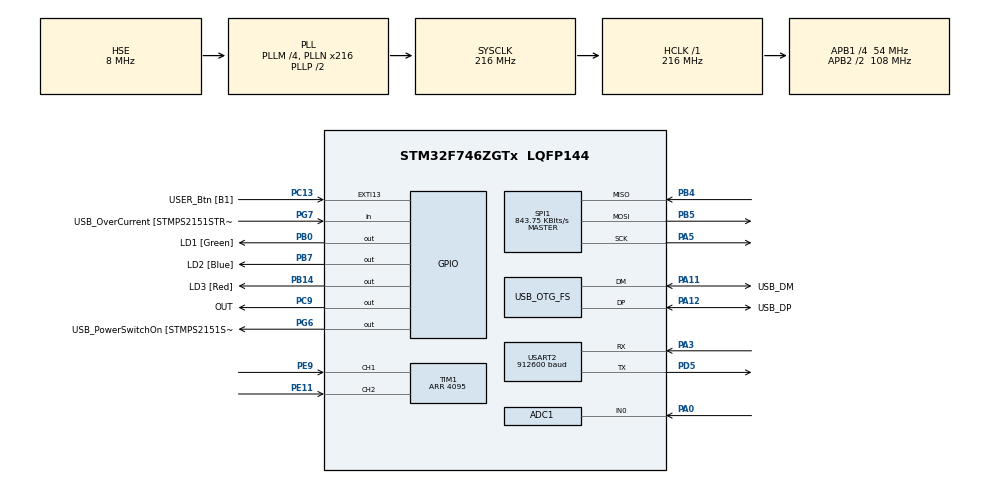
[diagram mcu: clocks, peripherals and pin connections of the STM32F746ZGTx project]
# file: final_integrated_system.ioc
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ADC1.Channel-0\#ChannelRegularConversion=ADC_CHANNEL_0
ADC1.ContinuousConvMode=ENABLE
ADC1.DMAContinuousRequests=ENABLE
ADC1.NbrOfConversionFlag=1
ADC1.Rank-0\#ChannelRegularConversion=1
ADC1.Resolution=ADC_RESOLUTION_8B
ADC1.SamplingTime-0\#ChannelRegularConversion=ADC_SAMPLETIME_3CYCLES
ADC1.master=1
Dma.ADC1.0.Direction=DMA_PERIPH_TO_MEMORY
Dma.ADC1.0.FIFOMode=DMA_FIFOMODE_DISABLE
Dma.ADC1.0.Instance=DMA2_Stream0
Dma.ADC1.0.MemDataAlignment=DMA_MDATAALIGN_BYTE
Dma.ADC1.0.MemInc=DMA_MINC_ENABLE
Dma.ADC1.0.Mode=DMA_NORMAL
Dma.ADC1.0.PeriphDataAlignment=DMA_PDATAALIGN_BYTE
Dma.ADC1.0.PeriphInc=DMA_PINC_DISABLE
Dma.ADC1.0.Priority=DMA_PRIORITY_VERY_HIGH
Dma.Request0=ADC1
Mcu.Family=STM32F7
Mcu.Name=STM32F746ZGTx
Mcu.Package=LQFP144
NVIC.ADC_IRQn=true\:2\:0\:true\:false\:true\:true\:true
NVIC.DMA2_Stream0_IRQn=true\:2\:0\:true\:false\:true\:false\:true
NVIC.OTG_FS_IRQn=true\:1\:0\:true\:false\:true\:false\:true
NVIC.PriorityGroup=NVIC_PRIORITYGROUP_4
NVIC.TIM3_IRQn=true\:2\:0\:true\:false\:true\:true\:true
PA0/WKUP.Signal=ADCx_IN0
PA1.GPIO_Label=RMII_REF_CLK [LAN8742A-CZ-TR_REFCLK0]
PA1.Signal=ETH_REF_CLK
PA10.GPIO_Label=USB_ID
PA10.Signal=USB_OTG_FS_ID
PA11.GPIO_Label=USB_DM
PA11.Mode=Device_Only
PA11.Signal=USB_OTG_FS_DM
PA12.GPIO_Label=USB_DP
PA12.Mode=Device_Only
PA12.Signal=USB_OTG_FS_DP
PA13.GPIO_Label=TMS
PA13.Signal=SYS_JTMS-SWDIO
PA14.GPIO_Label=TCK
PA14.Signal=SYS_JTCK-SWCLK
PA2.GPIO_Label=RMII_MDIO [LAN8742A-CZ-TR_MDIO]
PA2.Signal=ETH_MDIO
PA3.Mode=Asynchronous
PA3.Signal=USART2_RX
PA4.GPIO_Label=NSS
PA4.Signal=SPI1_NSS
PA5.Mode=Full_Duplex_Master
PA5.Signal=SPI1_SCK
PA7.GPIO_Label=RMII_CRS_DV [LAN8742A-CZ-TR_CRS_DV]
PA7.Signal=ETH_CRS_DV
PA8.GPIO_Label=USB_SOF [TP1]
PA8.Signal=USB_OTG_FS_SOF
PA9.GPIO_Label=USB_VBUS
PA9.Signal=USB_OTG_FS_VBUS
PB0.GPIO_Label=LD1 [Green]
PB0.Signal=GPIO_Output
PB13.GPIO_Label=RMII_TXD1 [LAN8742A-CZ-TR_TXD1]
PB13.Signal=ETH_TXD1
PB14.GPIO_Label=LD3 [Red]
PB14.Signal=GPIO_Output
PB3.GPIO_Label=SW0
PB3.Signal=SYS_JTDO-SWO
PB4.Mode=Full_Duplex_Master
PB4.Signal=SPI1_MISO
PB5.Mode=Full_Duplex_Master
PB5.Signal=SPI1_MOSI
PB7.GPIO_Label=LD2 [Blue]
PB7.Signal=GPIO_Output
PC1.GPIO_Label=RMII_MDC [LAN8742A-CZ-TR_MDC]
PC1.Signal=ETH_MDC
PC13.GPIO_Label=USER_Btn [B1]
PC13.Signal=GPXTI13
PC14/OSC32_IN.Signal=RCC_OSC32_IN
PC15/OSC32_OUT.Signal=RCC_OSC32_OUT
PC4.GPIO_Label=RMII_RXD0 [LAN8742A-CZ-TR_RXD0]
PC4.Signal=ETH_RXD0
PC5.GPIO_Label=RMII_RXD1 [LAN8742A-CZ-TR_RXD1]
PC5.Signal=ETH_RXD1
PC9.GPIO_Label=OUT
PC9.GPIO_Speed=GPIO_SPEED_FREQ_VERY_HIGH
PC9.Signal=GPIO_Output
PD5.Mode=Asynchronous
PD5.Signal=USART2_TX
PD8.GPIO_Label=STLK_RX [STM32F103CBT6_PA3]
PD8.Signal=USART3_TX
PD9.GPIO_Label=STLK_TX [STM32F103CBT6_PA2]
PD9.Signal=USART3_RX
PE11.Signal=S_TIM1_CH2
PE9.Signal=S_TIM1_CH1
PG11.GPIO_Label=RMII_TX_EN [LAN8742A-CZ-TR_TXEN]
PG11.Signal=ETH_TX_EN
PG13.GPIO_Label=RMII_TXD0 [LAN8742A-CZ-TR_TXD0]
PG13.Signal=ETH_TXD0
PG6.GPIO_Label=USB_PowerSwitchOn [STMPS2151STR_EN]
PG6.Signal=GPIO_Output
PG7.GPIO_Label=USB_OverCurrent [STMPS2151STR_FAULT]
PG7.Signal=GPIO_Input
PH0/OSC_IN.GPIO_Label=MCO [STM32F103CBT6_PA8]
PH0/OSC_IN.Mode=HSE-External-Oscillator
PH0/OSC_IN.Signal=RCC_OSC_IN
PH1/OSC_OUT.Mode=HSE-External-Oscillator
PH1/OSC_OUT.Signal=RCC_OSC_OUT
ProjectManager.HeapSize=0x400
ProjectManager.StackSize=0x800
ProjectManager.TargetToolchain=MDK-ARM V5
RCC.48MHZClocksFreq_Value=24000000
RCC.AHBFreq_Value=216000000
RCC.APB1CLKDivider=RCC_HCLK_DIV4
RCC.APB1Freq_Value=54000000
RCC.APB1TimFreq_Value=108000000
RCC.APB2CLKDivider=RCC_HCLK_DIV2
RCC.APB2Freq_Value=108000000
RCC.APB2TimFreq_Value=216000000
RCC.CortexFreq_Value=216000000
RCC.HCLKFreq_Value=216000000
RCC.HSE_VALUE=8000000
RCC.HSI_VALUE=16000000
RCC.LSE_VALUE=32768
RCC.PLLM=4
RCC.PLLMUL=RCC_PLL_MUL9
RCC.PLLN=216
RCC.PLLQ=9
RCC.PRESCALERUSB=RCC_USBCLKSOURCE_PLL_DIV1_5
RCC.SYSCLKFreq_VALUE=216000000
RCC.SYSCLKSource=RCC_SYSCLKSOURCE_PLLCLK
RCC.SYSCLKSourceVirtual=RCC_SYSCLKSOURCE_PLLCLK
RCC.USBFreq_Value=48000000
RCC.VCOOutputFreq_Value=432000000
SH.ADCx_IN0.0=ADC1_IN0,IN0
SH.S_TIM1_CH1.0=TIM1_CH1,Encoder_Interface
SH.S_TIM1_CH2.0=TIM1_CH2,Encoder_Interface
SPI1.BaudRatePrescaler=SPI_BAUDRATEPRESCALER_128
SPI1.CalculateBaudRate=843.75 KBits/s
SPI1.DataSize=SPI_DATASIZE_8BIT
SPI1.Direction=SPI_DIRECTION_2LINES
SPI1.Mode=SPI_MODE_MASTER
SPI1.VirtualType=VM_MASTER
TIM1.AutoReloadPreload=TIM_AUTORELOAD_PRELOAD_ENABLE
TIM1.Period=4095
TIM3.AutoReloadPreload=TIM_AUTORELOAD_PRELOAD_ENABLE
TIM3.Period=21599
TIM3.Prescaler=4
USART2.BaudRate=912600
USART2.OverSampling=UART_OVERSAMPLING_8
USART2.VirtualMode-Asynchronous=VM_ASYNC
USB_DEVICE.CLASS_NAME_FS=CDC
USB_DEVICE.VirtualMode-CDC_FS=Cdc
USB_DEVICE.VirtualModeFS=Cdc_FS
USB_OTG_FS.VirtualMode=Device_Only
VP_TIM3_VS_ClockSourceINT.Mode=Internal
VP_USB_DEVICE_VS_USB_DEVICE_CDC_FS.Mode=CDC_FS
board=NUCLEO-F746ZG

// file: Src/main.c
/* USER CODE BEGIN Header */
/**
  ******************************************************************************
  * @file           : main.c
  * @brief          : Main program body
  ******************************************************************************
  * @attention
  *
  * <h2><center>&copy; Copyright (c) 2019 STMicroelectronics.
  * All rights reserved.</center></h2>
  *
  * This software component is licensed by ST under Ultimate Liberty license
  * SLA0044, the "License"; You may not use this file except in compliance with
  * the License. You may obtain a copy of the License at:
  *                             www.st.com/SLA0044
  *
  ******************************************************************************
  */
/* USER CODE END Header */

#include "main.h"
#include "usb_device.h"

/* USER CODE BEGIN Includes */

//includes needed for my_printf
#include <stdio.h>
#include <stdarg.h>
#include <string.h>

//include needed for usb
#include "usbd_cdc_if.h"

/* USER CODE END Includes */

ADC_HandleTypeDef hadc1;
DMA_HandleTypeDef hdma_adc1;

SPI_HandleTypeDef hspi1;

TIM_HandleTypeDef htim1;
TIM_HandleTypeDef htim3;

UART_HandleTypeDef huart2;

/* USER CODE BEGIN PV */

//consts for number of encoder bytes and data bytes in the array
const uint16_t numTotalBytes = 512;
const uint32_t numDataBytes = 500;
const uint16_t numOverheadBytes = 12;		//total overhead including encoder
const uint16_t numStartBytes = 10;			//pure overhead (for now is 0xff)

//data array and pointers to where encoder bytes and data bytes start
uint8_t vals[numTotalBytes];
uint8_t *encoderStart = vals + numStartBytes;
uint8_t *dataStart = vals + numOverheadBytes;

//ready to send flag
uint8_t readyToSend = 0;

//initial encoder position, calculated quadrature position
uint16_t initPos = 0;
uint16_t quadraturePos = 0;

//encoder bitmasks
uint16_t lowTwelveMask = 0xFFFU;
uint8_t lowEightMask = 0xFFU;

/*
//tracking transmission speed
uint16_t numSent = 0;
uint8_t startSet = 0;
uint32_t startTime = 0;
*/

/* USER CODE END PV */

void SystemClock_Config(void);
static void MX_GPIO_Init(void);
static void MX_DMA_Init(void);
static void MX_ADC1_Init(void);
static void MX_SPI1_Init(void);
static void MX_TIM1_Init(void);
static void MX_TIM3_Init(void);
static void MX_USART2_UART_Init(void);
/* USER CODE BEGIN PFP */

//print functions definitions
void vprint(const char *fmt, va_list argp);
void my_printf(const char *fmt, ...);

//dwt: used to create us delays for encoder
void DWT_Init(void);
void DWT_Delay(uint32_t usDelay);

//package read value from encoder. directly modifies posArray.
//will return 0 on failure.
void getAMTPos(uint8_t *posArray);

/* USER CODE END PFP */

/* USER CODE BEGIN 0 */

//print functions
void vprint(const char *fmt, va_list argp)
{
    char string[200];
    if(0 < vsprintf(string,fmt,argp)) // build string
    {
        HAL_UART_Transmit(&huart2, (uint8_t*)string, strlen(string), 0xffffff); // send message via UART
    }
}

void my_printf(const char *fmt, ...) // custom printf() function
{
    va_list argp;
    va_start(argp, fmt);
    vprint(fmt, argp);
    va_end(argp);
}

//DWT init
void DWT_Init(void)
{
	//allow access to DWT (unlock)
  DWT->LAR = 0xC5ACCE55;
	CoreDebug->DEMCR |= CoreDebug_DEMCR_TRCENA_Msk;
	DWT->CYCCNT = 0;
	DWT->CTRL |= DWT_CTRL_CYCCNTENA_Msk;
}

//performs the delay. usDelay is in us
void DWT_Delay(uint32_t usDelay)
{
    uint32_t startTick = DWT->CYCCNT,
             delayTicks = usDelay * (SystemCoreClock/1000000);

    while (DWT->CYCCNT - startTick < delayTicks);
}

//encoder reading function. Directly modifies posArray
void getAMTPos(uint8_t *posArray) {
	//var to help track status and commands
	uint8_t readyToRecv = 0;
	uint8_t READPOS = 0x10;		//read command
	uint8_t NOP = 0x00;				//NOP command

	//send read command
	GPIOA->BSRR = 0x100000U;
	HAL_SPI_TransmitReceive(&hspi1, &READPOS, &readyToRecv, 1, 0xFFFF);
	GPIOA->BSRR = 0x0010U;
	DWT_Delay(5);

	//keep read until get 10 (ready)
	while (readyToRecv != 0x10) {
		GPIOA->BSRR = 0x100000U;
		HAL_SPI_TransmitReceive(&hspi1, &NOP, &readyToRecv, 1, 0xFFFF);
		GPIOA->BSRR = 0x0010U;
		DWT_Delay(30);
	}

	//now is ready: get two bytes that is the 12 bit position
	DWT_Delay(5);
	GPIOA->BSRR = 0x100000U;
	HAL_SPI_TransmitReceive(&hspi1, &NOP, posArray, 1, 0xFFFF);
	GPIOA->BSRR = 0x0010U;

	DWT_Delay(5);
	GPIOA->BSRR = 0x100000U;
	HAL_SPI_TransmitReceive(&hspi1, &NOP, posArray + 1, 1, 0xFFFF);
	GPIOA->BSRR = 0x0010U;

	//pause so encoder has time to get ready for next read
	DWT_Delay(120);
}

/* USER CODE END 0 */

int main(void)
{
  /* USER CODE BEGIN 1 */

	//poopulate the first 10 elements of the data array with 0xff
	for (int i = 0; i < numStartBytes; i++) {
		vals[i] = 0xffU;
	}

  /* USER CODE END 1 */

  /* MCU Configuration--------------------------------------------------------*/

  /* Reset of all peripherals, Initializes the Flash interface and the Systick. */
  HAL_Init();

  /* Configure the system clock */
  SystemClock_Config();

  /* Initialize all configured peripherals */
  MX_GPIO_Init();
  MX_DMA_Init();
  MX_ADC1_Init();
  MX_SPI1_Init();
  MX_TIM1_Init();
  MX_TIM3_Init();
  MX_USART2_UART_Init();
  MX_USB_DEVICE_Init();
  /* USER CODE BEGIN 2 */

	//init DWT
	DWT_Init();

	//enable encoder, get the initial position, start encoder timer
	HAL_GPIO_WritePin(NSS_GPIO_Port, NSS_Pin, GPIO_PIN_RESET);
	getAMTPos(encoderStart);
	initPos = (((uint16_t) encoderStart[0]) << 8) | encoderStart[1];
	HAL_TIM_Encoder_Start(&htim1, TIM_CHANNEL_ALL);

	//add "fake" usb transmit request to reset buffers?
	int i = 0;
	while(CDC_Transmit_FS(vals, numTotalBytes) != USBD_OK) {
		i++;
	}
	my_printf("ended fake transmit \r\n");

	//start the timer that sets when Tx are sent
	HAL_TIM_Base_Start_IT(&htim3);

  /* USER CODE END 2 */

  /* Infinite loop */
  while (1)
  {

    /* USER CODE BEGIN 3 */

		/*
		//check readytosend flag. if ready, send out through USB and re-enable timer
		if (readyToSend) {
			//send out values through USB
			//note: this BLOCKS EVERYTHING until it's done
			//probably smarter ways to do this, with a counter and timeout
			while(CDC_Transmit_FS(vals, numTotalBytes) != USBD_OK);

			//reset ready to send, re-enable timer interrupt
			readyToSend = 0;
			HAL_NVIC_EnableIRQ(TIM3_IRQn);
		}
		*/

  }
  /* USER CODE END 3 */
}

void SystemClock_Config(void)
{
  RCC_OscInitTypeDef RCC_OscInitStruct = {0};
  RCC_ClkInitTypeDef RCC_ClkInitStruct = {0};
  RCC_PeriphCLKInitTypeDef PeriphClkInitStruct = {0};

  /** Configure the main internal regulator output voltage
  */
  __HAL_RCC_PWR_CLK_ENABLE();
  __HAL_PWR_VOLTAGESCALING_CONFIG(PWR_REGULATOR_VOLTAGE_SCALE1);
  /** Initializes the CPU, AHB and APB busses clocks
  */
  RCC_OscInitStruct.OscillatorType = RCC_OSCILLATORTYPE_HSE;
  RCC_OscInitStruct.HSEState = RCC_HSE_ON;
  RCC_OscInitStruct.PLL.PLLState = RCC_PLL_ON;
  RCC_OscInitStruct.PLL.PLLSource = RCC_PLLSOURCE_HSE;
  RCC_OscInitStruct.PLL.PLLM = 4;
  RCC_OscInitStruct.PLL.PLLN = 216;
  RCC_OscInitStruct.PLL.PLLP = RCC_PLLP_DIV2;
  RCC_OscInitStruct.PLL.PLLQ = 9;
  if (HAL_RCC_OscConfig(&RCC_OscInitStruct) != HAL_OK)
  {
    Error_Handler();
  }
  /** Activate the Over-Drive mode
  */
  if (HAL_PWREx_EnableOverDrive() != HAL_OK)
  {
    Error_Handler();
  }
  /** Initializes the CPU, AHB and APB busses clocks
  */
  RCC_ClkInitStruct.ClockType = RCC_CLOCKTYPE_HCLK|RCC_CLOCKTYPE_SYSCLK
                              |RCC_CLOCKTYPE_PCLK1|RCC_CLOCKTYPE_PCLK2;
  RCC_ClkInitStruct.SYSCLKSource = RCC_SYSCLKSOURCE_PLLCLK;
  RCC_ClkInitStruct.AHBCLKDivider = RCC_SYSCLK_DIV1;
  RCC_ClkInitStruct.APB1CLKDivider = RCC_HCLK_DIV4;
  RCC_ClkInitStruct.APB2CLKDivider = RCC_HCLK_DIV2;

  if (HAL_RCC_ClockConfig(&RCC_ClkInitStruct, FLASH_LATENCY_7) != HAL_OK)
  {
    Error_Handler();
  }
  PeriphClkInitStruct.PeriphClockSelection = RCC_PERIPHCLK_USART2|RCC_PERIPHCLK_CLK48;
  PeriphClkInitStruct.Usart2ClockSelection = RCC_USART2CLKSOURCE_PCLK1;
  PeriphClkInitStruct.Clk48ClockSelection = RCC_CLK48SOURCE_PLL;
  if (HAL_RCCEx_PeriphCLKConfig(&PeriphClkInitStruct) != HAL_OK)
  {
    Error_Handler();
  }
}

static void MX_ADC1_Init(void)
{

  ADC_ChannelConfTypeDef sConfig = {0};

  /** Configure the global features of the ADC (Clock, Resolution, Data Alignment and number of conversion)
  */
  hadc1.Instance = ADC1;
  hadc1.Init.ClockPrescaler = ADC_CLOCK_SYNC_PCLK_DIV4;
  hadc1.Init.Resolution = ADC_RESOLUTION_8B;
  hadc1.Init.ScanConvMode = ADC_SCAN_DISABLE;
  hadc1.Init.ContinuousConvMode = ENABLE;
  hadc1.Init.DiscontinuousConvMode = DISABLE;
  hadc1.Init.ExternalTrigConvEdge = ADC_EXTERNALTRIGCONVEDGE_NONE;
  hadc1.Init.ExternalTrigConv = ADC_SOFTWARE_START;
  hadc1.Init.DataAlign = ADC_DATAALIGN_RIGHT;
  hadc1.Init.NbrOfConversion = 1;
  hadc1.Init.DMAContinuousRequests = ENABLE;
  hadc1.Init.EOCSelection = ADC_EOC_SINGLE_CONV;
  if (HAL_ADC_Init(&hadc1) != HAL_OK)
  {
    Error_Handler();
  }
  /** Configure for the selected ADC regular channel its corresponding rank in the sequencer and its sample time.
  */
  sConfig.Channel = ADC_CHANNEL_0;
  sConfig.Rank = ADC_REGULAR_RANK_1;
  sConfig.SamplingTime = ADC_SAMPLETIME_3CYCLES;
  if (HAL_ADC_ConfigChannel(&hadc1, &sConfig) != HAL_OK)
  {
    Error_Handler();
  }

}

static void MX_SPI1_Init(void)
{

  /* SPI1 parameter configuration*/
  hspi1.Instance = SPI1;
  hspi1.Init.Mode = SPI_MODE_MASTER;
  hspi1.Init.Direction = SPI_DIRECTION_2LINES;
  hspi1.Init.DataSize = SPI_DATASIZE_8BIT;
  hspi1.Init.CLKPolarity = SPI_POLARITY_LOW;
  hspi1.Init.CLKPhase = SPI_PHASE_1EDGE;
  hspi1.Init.NSS = SPI_NSS_SOFT;
  hspi1.Init.BaudRatePrescaler = SPI_BAUDRATEPRESCALER_128;
  hspi1.Init.FirstBit = SPI_FIRSTBIT_MSB;
  hspi1.Init.TIMode = SPI_TIMODE_DISABLE;
  hspi1.Init.CRCCalculation = SPI_CRCCALCULATION_DISABLE;
  hspi1.Init.CRCPolynomial = 7;
  hspi1.Init.CRCLength = SPI_CRC_LENGTH_DATASIZE;
  hspi1.Init.NSSPMode = SPI_NSS_PULSE_ENABLE;
  if (HAL_SPI_Init(&hspi1) != HAL_OK)
  {
    Error_Handler();
  }

}

static void MX_TIM1_Init(void)
{

  TIM_Encoder_InitTypeDef sConfig = {0};
  TIM_MasterConfigTypeDef sMasterConfig = {0};

  htim1.Instance = TIM1;
  htim1.Init.Prescaler = 0;
  htim1.Init.CounterMode = TIM_COUNTERMODE_UP;
  htim1.Init.Period = 4095;
  htim1.Init.ClockDivision = TIM_CLOCKDIVISION_DIV1;
  htim1.Init.RepetitionCounter = 0;
  htim1.Init.AutoReloadPreload = TIM_AUTORELOAD_PRELOAD_ENABLE;
  sConfig.EncoderMode = TIM_ENCODERMODE_TI1;
  sConfig.IC1Polarity = TIM_ICPOLARITY_RISING;
  sConfig.IC1Selection = TIM_ICSELECTION_DIRECTTI;
  sConfig.IC1Prescaler = TIM_ICPSC_DIV1;
  sConfig.IC1Filter = 0;
  sConfig.IC2Polarity = TIM_ICPOLARITY_RISING;
  sConfig.IC2Selection = TIM_ICSELECTION_DIRECTTI;
  sConfig.IC2Prescaler = TIM_ICPSC_DIV1;
  sConfig.IC2Filter = 0;
  if (HAL_TIM_Encoder_Init(&htim1, &sConfig) != HAL_OK)
  {
    Error_Handler();
  }
  sMasterConfig.MasterOutputTrigger = TIM_TRGO_RESET;
  sMasterConfig.MasterOutputTrigger2 = TIM_TRGO2_RESET;
  sMasterConfig.MasterSlaveMode = TIM_MASTERSLAVEMODE_DISABLE;
  if (HAL_TIMEx_MasterConfigSynchronization(&htim1, &sMasterConfig) != HAL_OK)
  {
    Error_Handler();
  }

}

static void MX_TIM3_Init(void)
{

  TIM_ClockConfigTypeDef sClockSourceConfig = {0};
  TIM_MasterConfigTypeDef sMasterConfig = {0};

  htim3.Instance = TIM3;
  htim3.Init.Prescaler = 4;
  htim3.Init.CounterMode = TIM_COUNTERMODE_UP;
  htim3.Init.Period = 21599;
  htim3.Init.ClockDivision = TIM_CLOCKDIVISION_DIV1;
  htim3.Init.AutoReloadPreload = TIM_AUTORELOAD_PRELOAD_ENABLE;
  if (HAL_TIM_Base_Init(&htim3) != HAL_OK)
  {
    Error_Handler();
  }
  sClockSourceConfig.ClockSource = TIM_CLOCKSOURCE_INTERNAL;
  if (HAL_TIM_ConfigClockSource(&htim3, &sClockSourceConfig) != HAL_OK)
  {
    Error_Handler();
  }
  sMasterConfig.MasterOutputTrigger = TIM_TRGO_RESET;
  sMasterConfig.MasterSlaveMode = TIM_MASTERSLAVEMODE_DISABLE;
  if (HAL_TIMEx_MasterConfigSynchronization(&htim3, &sMasterConfig) != HAL_OK)
  {
    Error_Handler();
  }

}

static void MX_USART2_UART_Init(void)
{

  huart2.Instance = USART2;
  huart2.Init.BaudRate = 912600;
  huart2.Init.WordLength = UART_WORDLENGTH_8B;
  huart2.Init.StopBits = UART_STOPBITS_1;
  huart2.Init.Parity = UART_PARITY_NONE;
  huart2.Init.Mode = UART_MODE_TX_RX;
  huart2.Init.HwFlowCtl = UART_HWCONTROL_NONE;
  huart2.Init.OverSampling = UART_OVERSAMPLING_8;
  huart2.Init.OneBitSampling = UART_ONE_BIT_SAMPLE_DISABLE;
  huart2.AdvancedInit.AdvFeatureInit = UART_ADVFEATURE_NO_INIT;
  if (HAL_UART_Init(&huart2) != HAL_OK)
  {
    Error_Handler();
  }

}

static void MX_DMA_Init(void)
{

  /* DMA controller clock enable */
  __HAL_RCC_DMA2_CLK_ENABLE();

  /* DMA interrupt init */
  /* DMA2_Stream0_IRQn interrupt configuration */
  HAL_NVIC_SetPriority(DMA2_Stream0_IRQn, 2, 0);
  HAL_NVIC_EnableIRQ(DMA2_Stream0_IRQn);

}

static void MX_GPIO_Init(void)
{
  GPIO_InitTypeDef GPIO_InitStruct = {0};

  /* GPIO Ports Clock Enable */
  __HAL_RCC_GPIOC_CLK_ENABLE();
  __HAL_RCC_GPIOH_CLK_ENABLE();
  __HAL_RCC_GPIOA_CLK_ENABLE();
  __HAL_RCC_GPIOB_CLK_ENABLE();
  __HAL_RCC_GPIOE_CLK_ENABLE();
  __HAL_RCC_GPIOD_CLK_ENABLE();
  __HAL_RCC_GPIOG_CLK_ENABLE();

  /*Configure GPIO pin Output Level */
  HAL_GPIO_WritePin(GPIOB, LD1_Pin|LD3_Pin|LD2_Pin, GPIO_PIN_RESET);

  /*Configure GPIO pin Output Level */
  HAL_GPIO_WritePin(USB_PowerSwitchOn_GPIO_Port, USB_PowerSwitchOn_Pin, GPIO_PIN_RESET);

  /*Configure GPIO pin Output Level */
  HAL_GPIO_WritePin(OUT_GPIO_Port, OUT_Pin, GPIO_PIN_RESET);

  /*Configure GPIO pin : USER_Btn_Pin */
  GPIO_InitStruct.Pin = USER_Btn_Pin;
  GPIO_InitStruct.Mode = GPIO_MODE_IT_RISING;
  GPIO_InitStruct.Pull = GPIO_NOPULL;
  HAL_GPIO_Init(USER_Btn_GPIO_Port, &GPIO_InitStruct);

  /*Configure GPIO pins : RMII_MDC_Pin RMII_RXD0_Pin RMII_RXD1_Pin */
  GPIO_InitStruct.Pin = RMII_MDC_Pin|RMII_RXD0_Pin|RMII_RXD1_Pin;
  GPIO_InitStruct.Mode = GPIO_MODE_AF_PP;
  GPIO_InitStruct.Pull = GPIO_NOPULL;
  GPIO_InitStruct.Speed = GPIO_SPEED_FREQ_VERY_HIGH;
  GPIO_InitStruct.Alternate = GPIO_AF11_ETH;
  HAL_GPIO_Init(GPIOC, &GPIO_InitStruct);

  /*Configure GPIO pins : RMII_REF_CLK_Pin RMII_MDIO_Pin RMII_CRS_DV_Pin */
  GPIO_InitStruct.Pin = RMII_REF_CLK_Pin|RMII_MDIO_Pin|RMII_CRS_DV_Pin;
  GPIO_InitStruct.Mode = GPIO_MODE_AF_PP;
  GPIO_InitStruct.Pull = GPIO_NOPULL;
  GPIO_InitStruct.Speed = GPIO_SPEED_FREQ_VERY_HIGH;
  GPIO_InitStruct.Alternate = GPIO_AF11_ETH;
  HAL_GPIO_Init(GPIOA, &GPIO_InitStruct);

  /*Configure GPIO pins : LD1_Pin LD3_Pin LD2_Pin */
  GPIO_InitStruct.Pin = LD1_Pin|LD3_Pin|LD2_Pin;
  GPIO_InitStruct.Mode = GPIO_MODE_OUTPUT_PP;
  GPIO_InitStruct.Pull = GPIO_NOPULL;
  GPIO_InitStruct.Speed = GPIO_SPEED_FREQ_LOW;
  HAL_GPIO_Init(GPIOB, &GPIO_InitStruct);

  /*Configure GPIO pin : RMII_TXD1_Pin */
  GPIO_InitStruct.Pin = RMII_TXD1_Pin;
  GPIO_InitStruct.Mode = GPIO_MODE_AF_PP;
  GPIO_InitStruct.Pull = GPIO_NOPULL;
  GPIO_InitStruct.Speed = GPIO_SPEED_FREQ_VERY_HIGH;
  GPIO_InitStruct.Alternate = GPIO_AF11_ETH;
  HAL_GPIO_Init(RMII_TXD1_GPIO_Port, &GPIO_InitStruct);

  /*Configure GPIO pins : STLK_RX_Pin STLK_TX_Pin */
  GPIO_InitStruct.Pin = STLK_RX_Pin|STLK_TX_Pin;
  GPIO_InitStruct.Mode = GPIO_MODE_AF_PP;
  GPIO_InitStruct.Pull = GPIO_NOPULL;
  GPIO_InitStruct.Speed = GPIO_SPEED_FREQ_VERY_HIGH;
  GPIO_InitStruct.Alternate = GPIO_AF7_USART3;
  HAL_GPIO_Init(GPIOD, &GPIO_InitStruct);

  /*Configure GPIO pin : USB_PowerSwitchOn_Pin */
  GPIO_InitStruct.Pin = USB_PowerSwitchOn_Pin;
  GPIO_InitStruct.Mode = GPIO_MODE_OUTPUT_PP;
  GPIO_InitStruct.Pull = GPIO_NOPULL;
  GPIO_InitStruct.Speed = GPIO_SPEED_FREQ_LOW;
  HAL_GPIO_Init(USB_PowerSwitchOn_GPIO_Port, &GPIO_InitStruct);

  /*Configure GPIO pin : USB_OverCurrent_Pin */
  GPIO_InitStruct.Pin = USB_OverCurrent_Pin;
  GPIO_InitStruct.Mode = GPIO_MODE_INPUT;
  GPIO_InitStruct.Pull = GPIO_NOPULL;
  HAL_GPIO_Init(USB_OverCurrent_GPIO_Port, &GPIO_InitStruct);

  /*Configure GPIO pin : OUT_Pin */
  GPIO_InitStruct.Pin = OUT_Pin;
  GPIO_InitStruct.Mode = GPIO_MODE_OUTPUT_PP;
  GPIO_InitStruct.Pull = GPIO_NOPULL;
  GPIO_InitStruct.Speed = GPIO_SPEED_FREQ_VERY_HIGH;
  HAL_GPIO_Init(OUT_GPIO_Port, &GPIO_InitStruct);

  /*Configure GPIO pins : RMII_TX_EN_Pin RMII_TXD0_Pin */
  GPIO_InitStruct.Pin = RMII_TX_EN_Pin|RMII_TXD0_Pin;
  GPIO_InitStruct.Mode = GPIO_MODE_AF_PP;
  GPIO_InitStruct.Pull = GPIO_NOPULL;
  GPIO_InitStruct.Speed = GPIO_SPEED_FREQ_VERY_HIGH;
  GPIO_InitStruct.Alternate = GPIO_AF11_ETH;
  HAL_GPIO_Init(GPIOG, &GPIO_InitStruct);

}

/* USER CODE BEGIN 4 */

//adc convert complete (dma finished filling in array)
void HAL_ADC_ConvCpltCallback(ADC_HandleTypeDef* hadc) {
	/*
	//tracking send rate
	if (!startSet) {
		startTime = HAL_GetTick();
		startSet = 1;
	}

	if ((HAL_GetTick() - startTime) > 1000) {
		my_printf("num sent %d \r\n", numSent);
		numSent = 0;
		startSet = 0;
	}
	*/

	//send out values through USB
	//note: this BLOCKS EVERYTHING until it's done
	//probably smarter ways to do this, with a counter and timeout
	while(CDC_Transmit_FS(vals, numTotalBytes) != USBD_OK);

	//re-enable timer interrupt
	__HAL_TIM_ENABLE_IT(&htim3, TIM_IT_UPDATE);

	//inc counter
	//numSent++;

}

//timer low to high transition: start of Tx pulse
void HAL_TIM_PeriodElapsedCallback(TIM_HandleTypeDef *htim) {
	if (htim->Instance == TIM3) {
		//send out the Tx pulse
		OUT_GPIO_Port->BSRR = 0x0200U;
		OUT_GPIO_Port->BSRR = 0x02000000U;

		//disable timer interrupt
		__HAL_TIM_DISABLE_IT(&htim3, TIM_IT_UPDATE);

		//start the ADC_DMA
		HAL_ADC_Start_DMA(&hadc1, (uint32_t *)dataStart, numDataBytes);

		//get the encoder value, put into array
		quadraturePos = (htim1.Instance->CNT + initPos) & lowTwelveMask;
		encoderStart[0] = (quadraturePos >> 8) & lowEightMask;
		encoderStart[1] =	quadraturePos & lowEightMask;
	}
}

/* USER CODE END 4 */

void Error_Handler(void)
{
}

/************************ (C) COPYRIGHT STMicroelectronics *****END OF FILE****/
